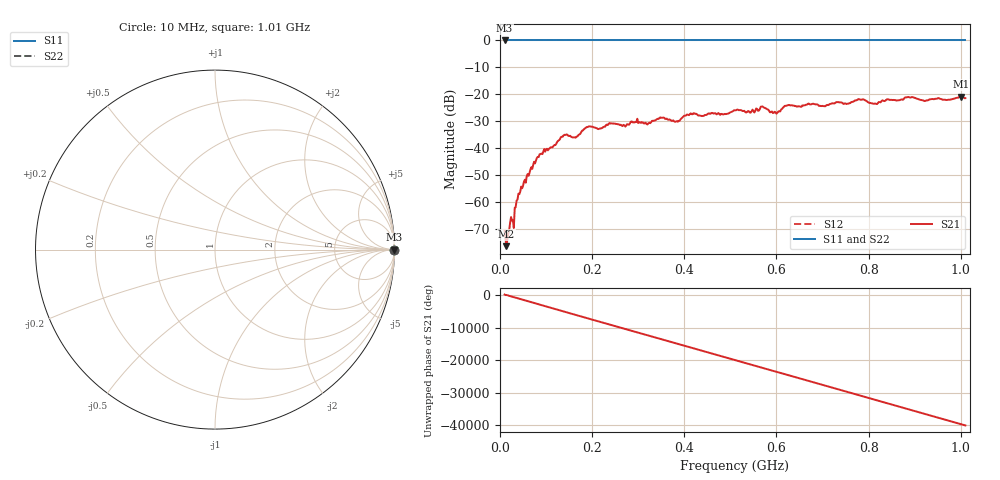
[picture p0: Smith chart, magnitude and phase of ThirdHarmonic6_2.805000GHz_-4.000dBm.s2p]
! 8/17/2025 7:19:52 AM
! C:\ANRITSUVNA\TEMP\TEMP.S2P
! CHANNEL.1
! TR.MEASUREMENT
! RAW.DATA
! RF.CORRECTION.OFF
! AVERAGING.OFF
! IF.BANDWIDTH: 5KHZ
! SWEEPTYPE:  FREQ.SWEEP(Linear)
! Reference Plane Port Info
! PORT:  PORT1  PORT2
! DISTANCE:  0  m  0  m
! TIME:  0  s  0  s
! PHASE.OFFSET:  0  deg.  0  deg.
! LOSS:  0  dB  0  dB
! REF.LOSS:  0  dB  0  dB
! REF.FREQ:  0  Hz  0  Hz
! Power Info
! POWER:  -20  dBm  -20  dBm
! EFF.POWER:  -20  dBm  -20  dBm
! SOURCE.ATTEN:  0  dB  0  dB
! TEST.ATTEN:  0  dB  0  dB
# GHZ S RI R 50.0
! FREQ.GHZ  S11RE  S11IM  S21RE  S21IM  S12RE  S12IM  S22RE  S22IM
!; PortSelection: Port_12
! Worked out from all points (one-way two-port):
!   501 points, 10 MHz to 1.01 GHz, reference 50 ohm
!   highest |S21| = -20.81 dB at 1 GHz (marker M1); lowest = -76.4 dB at 14 MHz (marker M2)
!   lowest |S11| = 0.0 dB at 10 MHz (marker M3)
!   |S11| at or under -10 dB: nowhere
!   |S22| runs from 0.0 to 0.0 dB; largest |S21 - S12| = 1.1
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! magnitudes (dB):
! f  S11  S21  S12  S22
! 10 MHz  0.0  -70.7  0.0  0.0
! 14 MHz  0.0  -76.4  0.0  0.0
! 30 MHz  0.0  -69.6  0.0  0.0
! 42 MHz  0.0  -57.1  0.0  0.0
! 82 MHz  0.0  -43.2  0.0  0.0
! 136 MHz  0.0  -35.8  0.0  0.0
! 164 MHz  0.0  -36.1  0.0  0.0
! 178 MHz  0.0  -33.5  0.0  0.0
! 192 MHz  0.0  -32.0  0.0  0.0
! 322 MHz  0.0  -30.8  0.0  0.0
! 344 MHz  0.0  -29.1  0.0  0.0
! 384 MHz  0.0  -30.0  0.0  0.0
! 416 MHz  0.0  -27.4  0.0  0.0
! 510 MHz  0.0  -25.9  0.0  0.0
! 570 MHz  0.0  -24.5  0.0  0.0
! 598 MHz  0.0  -26.7  0.0  0.0
! 622 MHz  0.0  -24.2  0.0  0.0
! 678 MHz  0.0  -23.6  0.0  0.0
! 814 MHz  0.0  -23.4  0.0  0.0
! 844 MHz  0.0  -22.0  0.0  0.0
! 1 GHz  0.0  -20.8  0.0  0.0
! 1.01 GHz  0.0  -21.4  0.0  0.0
